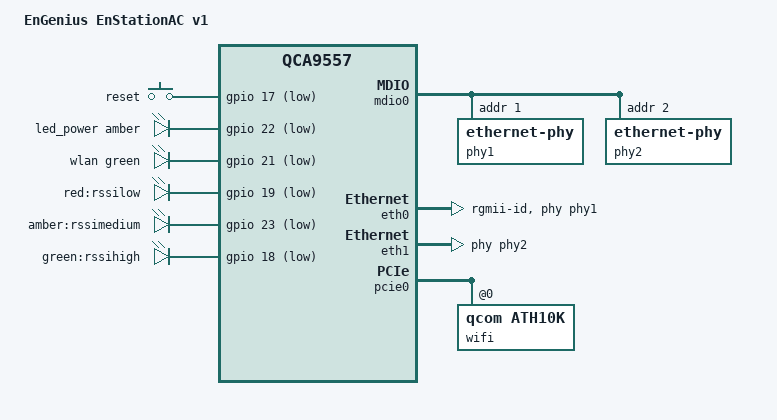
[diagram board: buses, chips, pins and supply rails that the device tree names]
// SPDX-License-Identifier: GPL-2.0-or-later OR MIT

#include "qca955x_senao_loader.dtsi"

#include <dt-bindings/gpio/gpio.h>
#include <dt-bindings/input/input.h>
#include <dt-bindings/leds/common.h>

/ {
	compatible = "engenius,enstationac-v1", "qca,qca9557";
	model = "EnGenius EnStationAC v1";

	aliases {
		label-mac-device = &eth0;
		led-boot = &led_power;
		led-failsafe = &led_power;
		led-running = &led_power;
		led-upgrade = &led_power;
	};

	keys {
		compatible = "gpio-keys";

		reset {
			label = "reset";
			gpios = <&gpio 17 GPIO_ACTIVE_LOW>;
			debounce-interval = <60>;
			linux,code = <KEY_RESTART>;
		};
	};

	leds {
		compatible = "gpio-leds";

		led_power: power {
			function = LED_FUNCTION_POWER;
			color = <LED_COLOR_ID_AMBER>;
			gpios = <&gpio 22 GPIO_ACTIVE_LOW>;
			default-state = "on";
		};

		wlan {
			function = LED_FUNCTION_WLAN;
			color = <LED_COLOR_ID_GREEN>;
			gpios = <&gpio 21 GPIO_ACTIVE_LOW>;
			linux,default-trigger = "phy0tpt";
		};

		rssilow {
			label = "red:rssilow";
			gpios = <&gpio 19 GPIO_ACTIVE_LOW>;
		};

		rssimedium {
			label = "amber:rssimedium";
			gpios = <&gpio 23 GPIO_ACTIVE_LOW>;
		};

		rssihigh {
			label = "green:rssihigh";
			gpios = <&gpio 18 GPIO_ACTIVE_LOW>;
		};
	};
};

&partitions {
	art: partition@ff0000 {
		label = "art";
		reg = <0xff0000 0x010000>;
		read-only;

		nvmem-layout {
			compatible = "fixed-layout";
			#address-cells = <1>;
			#size-cells = <1>;

			macaddr_art_0: macaddr@0 {
				compatible = "mac-base";
				reg = <0x0 0x6>;
				#nvmem-cell-cells = <1>;
			};

			cal_art_5000: calibration@5000 {
				reg = <0x5000 0x844>;
			};
		};
	};
};

&mdio0 {
	status = "okay";

	phy1: ethernet-phy@1 {
		reg = <1>;
		eee-broken-100tx;
		eee-broken-1000t;
	};

	phy2: ethernet-phy@2 {
		reg = <2>;
		eee-broken-100tx;
		eee-broken-1000t;
		at803x-override-sgmii-link-check;
	};
};

&eth0 {
	status = "okay";

	nvmem-cells = <&macaddr_art_0 0>;
	nvmem-cell-names = "mac-address";

	phy-handle = <&phy1>;
	phy-mode = "rgmii-id";

	pll-data = <0x82000000 0x80000101 0x80001313>;
};

&eth1 {
	status = "okay";

	nvmem-cells = <&macaddr_art_0 1>;
	nvmem-cell-names = "mac-address";

	phy-handle = <&phy2>;

	pll-data = <0x03000000 0x00000101 0x00001313>;

	qca955x-sgmii-fixup;
};

&pcie0 {
	status = "okay";

	wifi@0,0 {
		compatible = "qcom,ath10k";
		reg = <0x0000 0 0 0 0>;
		nvmem-cells = <&cal_art_5000>, <&macaddr_art_0 2>;
		nvmem-cell-names = "calibration", "mac-address";
	};
};
